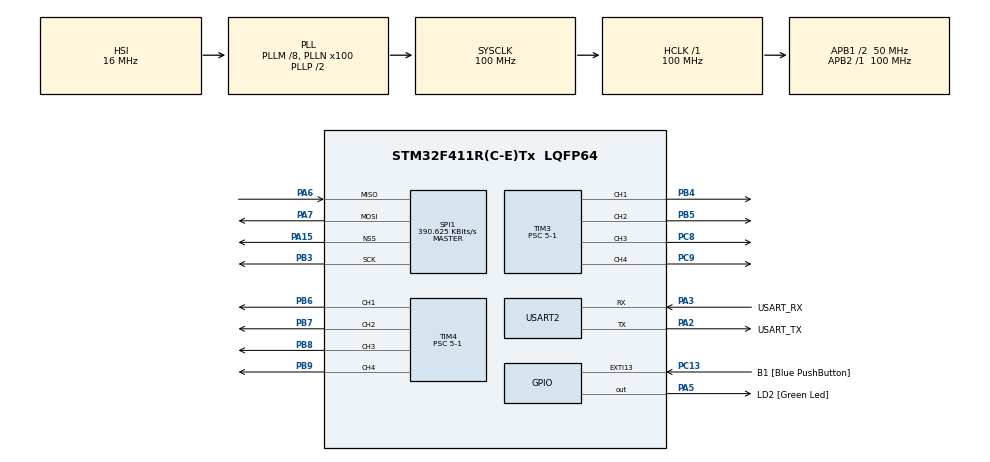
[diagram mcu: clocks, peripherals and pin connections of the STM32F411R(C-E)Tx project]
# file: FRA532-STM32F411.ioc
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ARM.CMSIS.5.6.0.CMSISJjDSP=Library
Mcu.Family=STM32F4
Mcu.Name=STM32F411R(C-E)Tx
Mcu.Package=LQFP64
NVIC.EXTI15_10_IRQn=true\:0\:0\:false\:false\:true\:true\:true\:true
NVIC.PriorityGroup=NVIC_PRIORITYGROUP_0
NVIC.SPI1_IRQn=true\:0\:0\:false\:false\:true\:true\:true\:true
NVIC.TIM1_BRK_TIM9_IRQn=true\:0\:0\:false\:false\:true\:true\:true\:true
NVIC.USART2_IRQn=true\:0\:0\:false\:false\:true\:true\:true\:true
PA13.Mode=Serial_Wire
PA13.Signal=SYS_JTMS-SWDIO
PA14.Mode=Serial_Wire
PA14.Signal=SYS_JTCK-SWCLK
PA15.Mode=NSS_Signal_Hard_Output
PA15.Signal=SPI1_NSS
PA2.GPIO_Label=USART_TX
PA2.Mode=Asynchronous
PA2.Signal=USART2_TX
PA3.GPIO_Label=USART_RX
PA3.Mode=Asynchronous
PA3.Signal=USART2_RX
PA4.Signal=ADCx_IN4
PA5.GPIO_Label=LD2 [Green Led]
PA5.Signal=GPIO_Output
PA6.Mode=Full_Duplex_Master
PA6.Signal=SPI1_MISO
PA7.Mode=Full_Duplex_Master
PA7.Signal=SPI1_MOSI
PB0.Signal=ADCx_IN8
PB3.Mode=Full_Duplex_Master
PB3.Signal=SPI1_SCK
PB4.GPIO_PuPd=GPIO_PULLDOWN
PB4.Signal=S_TIM3_CH1
PB5.GPIO_PuPd=GPIO_PULLDOWN
PB5.Signal=S_TIM3_CH2
PB6.GPIO_PuPd=GPIO_PULLDOWN
PB6.Signal=S_TIM4_CH1
PB7.GPIO_PuPd=GPIO_PULLDOWN
PB7.Signal=S_TIM4_CH2
PB8.GPIO_PuPd=GPIO_PULLDOWN
PB8.Signal=S_TIM4_CH3
PB9.GPIO_PuPd=GPIO_PULLDOWN
PB9.Signal=S_TIM4_CH4
PC1.Signal=ADCx_IN11
PC13-ANTI_TAMP.GPIO_Label=B1 [Blue PushButton]
PC13-ANTI_TAMP.GPIO_ModeDefaultEXTI=GPIO_MODE_IT_FALLING
PC13-ANTI_TAMP.Signal=GPXTI13
PC14-OSC32_IN.Mode=LSE-External-Oscillator
PC14-OSC32_IN.Signal=RCC_OSC32_IN
PC15-OSC32_OUT.Mode=LSE-External-Oscillator
PC15-OSC32_OUT.Signal=RCC_OSC32_OUT
PC3.Signal=ADCx_IN13
PC8.GPIO_PuPd=GPIO_PULLDOWN
PC8.Signal=S_TIM3_CH3
PC9.GPIO_PuPd=GPIO_PULLDOWN
PC9.Signal=S_TIM3_CH4
PH0\ -\ OSC_IN.Mode=HSE-External-Clock-Source
PH0\ -\ OSC_IN.Signal=RCC_OSC_IN
PH1\ -\ OSC_OUT.Mode=HSE-External-Clock-Source
PH1\ -\ OSC_OUT.Signal=RCC_OSC_OUT
ProjectManager.HeapSize=0x200
ProjectManager.StackSize=0x400
ProjectManager.TargetToolchain=STM32CubeIDE
RCC.48MHZClocksFreq_Value=50000000
RCC.AHBFreq_Value=100000000
RCC.APB1CLKDivider=RCC_HCLK_DIV2
RCC.APB1Freq_Value=50000000
RCC.APB1TimFreq_Value=100000000
RCC.APB2Freq_Value=100000000
RCC.APB2TimFreq_Value=100000000
RCC.CortexFreq_Value=100000000
RCC.FLatency-AdvancedSettings=FLASH_LATENCY_3
RCC.HCLKFreq_Value=100000000
RCC.HSE_VALUE=8000000
RCC.HSI_VALUE=16000000
RCC.PLLM=8
RCC.PLLN=100
RCC.SYSCLKFreq_VALUE=100000000
RCC.SYSCLKSource=RCC_SYSCLKSOURCE_PLLCLK
RCC.VCOOutputFreq_Value=200000000
SH.ADCx_IN11.0=ADC1_IN11
SH.ADCx_IN13.0=ADC1_IN13
SH.ADCx_IN4.0=ADC1_IN4
SH.ADCx_IN8.0=ADC1_IN8
SH.S_TIM3_CH1.0=TIM3_CH1,PWM Generation1 CH1
SH.S_TIM3_CH2.0=TIM3_CH2,PWM Generation2 CH2
SH.S_TIM3_CH3.0=TIM3_CH3,PWM Generation3 CH3
SH.S_TIM3_CH4.0=TIM3_CH4,PWM Generation4 CH4
SH.S_TIM4_CH1.0=TIM4_CH1,PWM Generation1 CH1
SH.S_TIM4_CH2.0=TIM4_CH2,PWM Generation2 CH2
SH.S_TIM4_CH3.0=TIM4_CH3,PWM Generation3 CH3
SH.S_TIM4_CH4.0=TIM4_CH4,PWM Generation4 CH4
SPI1.BaudRatePrescaler=SPI_BAUDRATEPRESCALER_256
SPI1.CLKPhase=SPI_PHASE_2EDGE
SPI1.CLKPolarity=SPI_POLARITY_HIGH
SPI1.CRCCalculation=SPI_CRCCALCULATION_DISABLE
SPI1.CalculateBaudRate=390.625 KBits/s
SPI1.Direction=SPI_DIRECTION_2LINES
SPI1.Mode=SPI_MODE_MASTER
SPI1.VirtualNSS=VM_NSSHARD
SPI1.VirtualType=VM_MASTER
TIM3.Channel-PWM\ Generation1\ CH1=TIM_CHANNEL_1
TIM3.Channel-PWM\ Generation2\ CH2=TIM_CHANNEL_2
TIM3.Channel-PWM\ Generation3\ CH3=TIM_CHANNEL_3
TIM3.Channel-PWM\ Generation4\ CH4=TIM_CHANNEL_4
TIM3.Prescaler=5-1
TIM4.Channel-PWM\ Generation1\ CH1=TIM_CHANNEL_1
TIM4.Channel-PWM\ Generation2\ CH2=TIM_CHANNEL_2
TIM4.Channel-PWM\ Generation3\ CH3=TIM_CHANNEL_3
TIM4.Channel-PWM\ Generation4\ CH4=TIM_CHANNEL_4
TIM4.Prescaler=5-1
TIM9.Period=1000-1
TIM9.Prescaler=100-1
USART2.VirtualMode=VM_ASYNC
VP_ARM.CMSIS_VS_CMSISJjDSP_1.7.0_5.6.0.Mode=CMSISJjDSP
VP_TIM3_VS_ClockSourceINT.Mode=Internal
VP_TIM4_VS_ClockSourceINT.Mode=Internal
VP_TIM9_VS_ClockSourceINT.Mode=Internal
board=NUCLEO-F411RE

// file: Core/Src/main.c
/* USER CODE BEGIN Header */
/**
 ******************************************************************************
 * @file           : main.c
 * @brief          : Main program body
 ******************************************************************************
 * @attention
 *
 * Copyright (c) 2024 STMicroelectronics.
 * All rights reserved.
 *
 * This software is licensed under terms that can be found in the LICENSE file
 * in the root directory of this software component.
 * If no LICENSE file comes with this software, it is provided AS-IS.
 *
 ******************************************************************************
 */
/* USER CODE END Header */
#include "main.h"
#include "spi.h"
#include "tim.h"
#include "usart.h"
#include "gpio.h"

/* USER CODE BEGIN Includes */

#include "math.h"
#include "arm_math.h"

/* USER CODE END Includes */

/* USER CODE BEGIN PD */

#define CPU_FREQ 100.0 * 1.0e6

/* USER CODE END PD */

/* USER CODE BEGIN PV */

int8_t user_input = 0;
uint32_t ms_count = 0;

uint8_t SPI_rx[12];
uint8_t SPI_tx[12];

HAL_StatusTypeDef status1;
HAL_StatusTypeDef status2;

/* USER CODE END PV */

void SystemClock_Config(void);
/* USER CODE BEGIN PFP */

uint8_t PWMWrite(TIM_HandleTypeDef *htimx, uint16_t tim_chx, float freq, float percent_duty);
uint64_t micros();
void setMotor(uint8_t ID, float dutyCycle);

/* USER CODE END PFP */

int main(void) {

	/* MCU Configuration--------------------------------------------------------*/

	/* Reset of all peripherals, Initializes the Flash interface and the Systick. */
	HAL_Init();

	/* Configure the system clock */
	SystemClock_Config();

	/* Initialize all configured peripherals */
	MX_GPIO_Init();
	MX_USART2_UART_Init();
	MX_TIM3_Init();
	MX_TIM4_Init();
	MX_TIM9_Init();
	MX_SPI1_Init();
	/* USER CODE BEGIN 2 */
	HAL_TIM_PWM_Start(&htim3, TIM_CHANNEL_1);
	HAL_TIM_PWM_Start(&htim3, TIM_CHANNEL_2);
	HAL_TIM_PWM_Start(&htim3, TIM_CHANNEL_3);
	HAL_TIM_PWM_Start(&htim3, TIM_CHANNEL_4);
	HAL_TIM_PWM_Start(&htim4, TIM_CHANNEL_1);
	HAL_TIM_PWM_Start(&htim4, TIM_CHANNEL_2);
	HAL_TIM_PWM_Start(&htim4, TIM_CHANNEL_3);
	HAL_TIM_PWM_Start(&htim4, TIM_CHANNEL_4);

	HAL_TIM_Base_Start_IT(&htim9);

	/* USER CODE END 2 */

	/* Infinite loop */
	/* USER CODE BEGIN WHILE */
	while (1) {
		SPI_tx[0] = 0b10100101;
		HAL_SPI_Init(&hspi1);
		status1 = HAL_SPI_Transmit(&hspi1, (uint8_t*) &SPI_tx, 1, 10);
		HAL_Delay(1);
		status2 = HAL_SPI_Receive(&hspi1, (uint8_t*) &SPI_rx, 12, 100);
//		status1 = HAL_SPI_TransmitReceive(&hspi1, (uint8_t*) &SPI_tx, (uint8_t*) &SPI_rx, 13, 10);
		HAL_SPI_DeInit(&hspi1);
		HAL_Delay(10);
		/* USER CODE END WHILE */

	}
}

void SystemClock_Config(void) {
	RCC_OscInitTypeDef RCC_OscInitStruct = { 0 };
	RCC_ClkInitTypeDef RCC_ClkInitStruct = { 0 };

	/** Configure the main internal regulator output voltage
	 */
	__HAL_RCC_PWR_CLK_ENABLE();
	__HAL_PWR_VOLTAGESCALING_CONFIG(PWR_REGULATOR_VOLTAGE_SCALE1);

	/** Initializes the RCC Oscillators according to the specified parameters
	 * in the RCC_OscInitTypeDef structure.
	 */
	RCC_OscInitStruct.OscillatorType = RCC_OSCILLATORTYPE_HSI;
	RCC_OscInitStruct.HSIState = RCC_HSI_ON;
	RCC_OscInitStruct.HSICalibrationValue = RCC_HSICALIBRATION_DEFAULT;
	RCC_OscInitStruct.PLL.PLLState = RCC_PLL_ON;
	RCC_OscInitStruct.PLL.PLLSource = RCC_PLLSOURCE_HSI;
	RCC_OscInitStruct.PLL.PLLM = 8;
	RCC_OscInitStruct.PLL.PLLN = 100;
	RCC_OscInitStruct.PLL.PLLP = RCC_PLLP_DIV2;
	RCC_OscInitStruct.PLL.PLLQ = 4;
	if (HAL_RCC_OscConfig(&RCC_OscInitStruct) != HAL_OK) {
		Error_Handler();
	}

	/** Initializes the CPU, AHB and APB buses clocks
	 */
	RCC_ClkInitStruct.ClockType = RCC_CLOCKTYPE_HCLK | RCC_CLOCKTYPE_SYSCLK | RCC_CLOCKTYPE_PCLK1 | RCC_CLOCKTYPE_PCLK2;
	RCC_ClkInitStruct.SYSCLKSource = RCC_SYSCLKSOURCE_PLLCLK;
	RCC_ClkInitStruct.AHBCLKDivider = RCC_SYSCLK_DIV1;
	RCC_ClkInitStruct.APB1CLKDivider = RCC_HCLK_DIV2;
	RCC_ClkInitStruct.APB2CLKDivider = RCC_HCLK_DIV1;

	if (HAL_RCC_ClockConfig(&RCC_ClkInitStruct, FLASH_LATENCY_3) != HAL_OK) {
		Error_Handler();
	}
}

/* USER CODE BEGIN 4 */

/**
 * @brief Sets the PWM frequency and duty cycle
 * @param htimx TIM handle
 * @param tim_chx TIM channel
 * @param freq PWM frequency
 * @param percent_duty PWM duty cycle
 * @return 0 if successful, -1 if frequency is too high
 */
uint8_t PWMWrite(TIM_HandleTypeDef *htimx, uint16_t tim_chx, float freq, float percent_duty) {
	if (freq == 0) {
		__HAL_TIM_SET_COMPARE(htimx, tim_chx, 0);
		return 0;
	} else if (freq >= CPU_FREQ / 2.0)
		return -1;
	uint32_t period_cyc = (uint32_t) (CPU_FREQ / freq);
	uint16_t prescaler = (uint16_t) (period_cyc / 65535 + 1);
	uint16_t overflow = (uint16_t) ((period_cyc + (prescaler / 2)) / prescaler);
	__HAL_TIM_SET_PRESCALER(htimx, prescaler);
	__HAL_TIM_SET_AUTORELOAD(htimx, overflow);
	__HAL_TIM_SET_COMPARE(htimx, tim_chx, (uint16_t ) (overflow * fabs(percent_duty) / 100.0));
	return 0;
}

void setMotor(uint8_t ID, float dutyCycle) {
	switch (ID) {
	case 1:
		if (dutyCycle < 0) {
			PWMWrite(&htim4, TIM_CHANNEL_3, 20000, 0.0);
			PWMWrite(&htim4, TIM_CHANNEL_4, 20000, dutyCycle);
		} else {
			PWMWrite(&htim4, TIM_CHANNEL_3, 20000, dutyCycle);
			PWMWrite(&htim4, TIM_CHANNEL_4, 20000, 0.0);
		}
		break;
	case 2:
		if (dutyCycle < 0) {
			PWMWrite(&htim3, TIM_CHANNEL_3, 20000, 0.0);
			PWMWrite(&htim3, TIM_CHANNEL_4, 20000, dutyCycle);
		} else {
			PWMWrite(&htim3, TIM_CHANNEL_3, 20000, dutyCycle);
			PWMWrite(&htim3, TIM_CHANNEL_4, 20000, 0.0);
		}
		break;
	case 3:
		if (dutyCycle < 0) {
			PWMWrite(&htim3, TIM_CHANNEL_1, 20000, dutyCycle);
			PWMWrite(&htim3, TIM_CHANNEL_2, 20000, 0.0);
		} else {
			PWMWrite(&htim3, TIM_CHANNEL_1, 20000, 0.0);
			PWMWrite(&htim3, TIM_CHANNEL_2, 20000, dutyCycle);
		}
		break;
	case 4:
		if (dutyCycle < 0) {
			PWMWrite(&htim4, TIM_CHANNEL_1, 20000, 0.0);
			PWMWrite(&htim4, TIM_CHANNEL_2, 20000, dutyCycle);
		} else {
			PWMWrite(&htim4, TIM_CHANNEL_1, 20000, dutyCycle);
			PWMWrite(&htim4, TIM_CHANNEL_2, 20000, 0.0);
		}
		break;
	default:
		break;
	}
}

void HAL_GPIO_EXTI_Callback(uint16_t GPIO_Pin) {
	if (GPIO_Pin == GPIO_PIN_13) {
		static uint32_t last_time = 0;
		uint32_t time = HAL_GetTick();
		if (time - last_time < 200)
			return;
		last_time = time;

		switch (user_input) {
		default:
		case 0:
			setMotor(1, 25.0);
			setMotor(2, 25.0);
			setMotor(3, 25.0);
			setMotor(4, 25.0);
			user_input = 1;
			break;
		case 1:
			setMotor(1, 100.0);
			setMotor(2, 100.0);
			setMotor(3, 100.0);
			setMotor(4, 100.0);
			user_input = 2;
			break;
		case 2:
			setMotor(1, -25.0);
			setMotor(2, -25.0);
			setMotor(3, -25.0);
			setMotor(4, -25.0);
			user_input = 3;
			break;
		case 3:
			setMotor(1, -100.0);
			setMotor(2, -100.0);
			setMotor(3, -100.0);
			setMotor(4, -100.0);
			user_input = 4;
			break;
		case 4:
			setMotor(1, 0.0);
			setMotor(2, 0.0);
			setMotor(3, 0.0);
			setMotor(4, 0.0);
			user_input = 0;
			break;
		}
	}
}

void HAL_TIM_PeriodElapsedCallback(TIM_HandleTypeDef *htim) {
	if (htim->Instance == TIM9) {
		ms_count++;
	}
}

uint64_t micros() {
	return ms_count * 1000 + __HAL_TIM_GET_COUNTER(&htim9);
}

/* USER CODE END 4 */

void Error_Handler(void) {
	__disable_irq();
	while (1) {
	}
}
